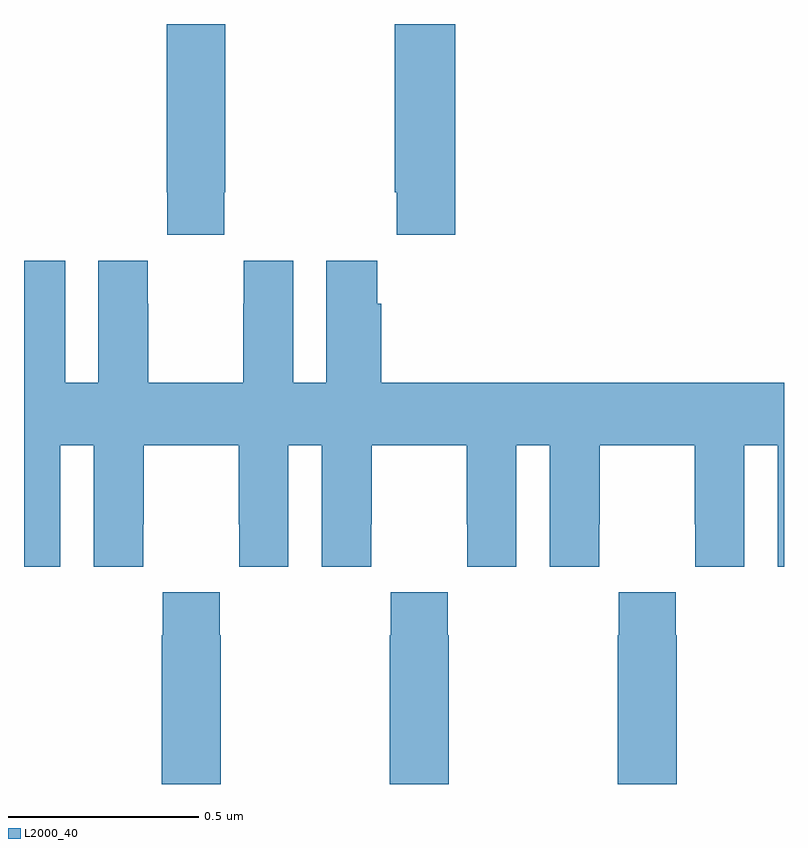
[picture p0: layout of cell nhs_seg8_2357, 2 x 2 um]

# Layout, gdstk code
import gdstk
lib = gdstk.Library(unit=1e-6, precision=1e-09)
def P(c, l, *ps):  # polygons
    for p in ps: c.add(gdstk.Polygon(p, *l))
L2000_40 = (2000, 40)

nhs_seg8_2357 = lib.new_cell('nhs_seg8_2357')
P(nhs_seg8_2357, L2000_40, [(142.527,1158.457),(142.53,1158.457),(142.53,1158.9),(142.375,1158.9),(142.375,1158.457),(142.377,1158.457),(142.377,1158.345),(142.527,1158.345)],
  [(143.135,1158.9),(142.975,1158.9),(142.975,1158.457),(142.981,1158.457),(142.981,1158.345),(143.135,1158.345)],
  [(142.096,1157.792),(142.184,1157.792),(142.184,1157.472),(142.314,1157.472),(142.314,1157.584),(142.315,1157.584),(142.315,1157.792),(142.565,1157.792),(142.565,1157.584),(142.566,1157.584),(142.566,1157.472),(142.696,1157.472),(142.696,1157.792),(142.784,1157.792),(142.784,1157.472),(142.914,1157.472),(142.914,1157.584),(142.915,1157.584),(142.915,1157.792),(143.165,1157.792),(143.165,1157.584),(143.166,1157.584),(143.166,1157.472),(143.296,1157.472),(143.296,1157.792),(143.384,1157.792),(143.384,1157.472),(143.514,1157.472),(143.514,1157.584),(143.515,1157.584),(143.515,1157.792),(143.765,1157.792),(143.765,1157.584),(143.766,1157.584),(143.766,1157.472),(143.896,1157.472),(143.896,1157.792),(143.984,1157.792),(143.984,1157.472),(144,1157.472),(144,1157.956),(142.94,1157.956),(142.94,1158.164),(142.93,1158.164),(142.93,1158.277),(142.796,1158.277),(142.796,1157.956),(142.708,1157.956),(142.708,1158.277),(142.578,1158.277),(142.578,1158.164),(142.577,1158.164),(142.577,1157.956),(142.327,1157.956),(142.327,1158.164),(142.326,1158.164),(142.326,1158.277),(142.196,1158.277),(142.196,1157.956),(142.108,1157.956),(142.108,1158.277),(142,1158.277),(142,1157.472),(142.096,1157.472)],
  [(142.518,1157.291),(142.515,1157.291),(142.515,1157.404),(142.365,1157.404),(142.365,1157.291),(142.363,1157.291),(142.363,1156.9),(142.518,1156.9)],
  [(143.118,1157.291),(143.115,1157.291),(143.115,1157.404),(142.965,1157.404),(142.965,1157.291),(142.963,1157.291),(142.963,1156.9),(143.118,1156.9)],
  [(143.718,1157.291),(143.715,1157.291),(143.715,1157.404),(143.565,1157.404),(143.565,1157.291),(143.563,1157.291),(143.563,1156.9),(143.718,1156.9)])

lib.write_gds('nhs_seg8_2357.gds')
